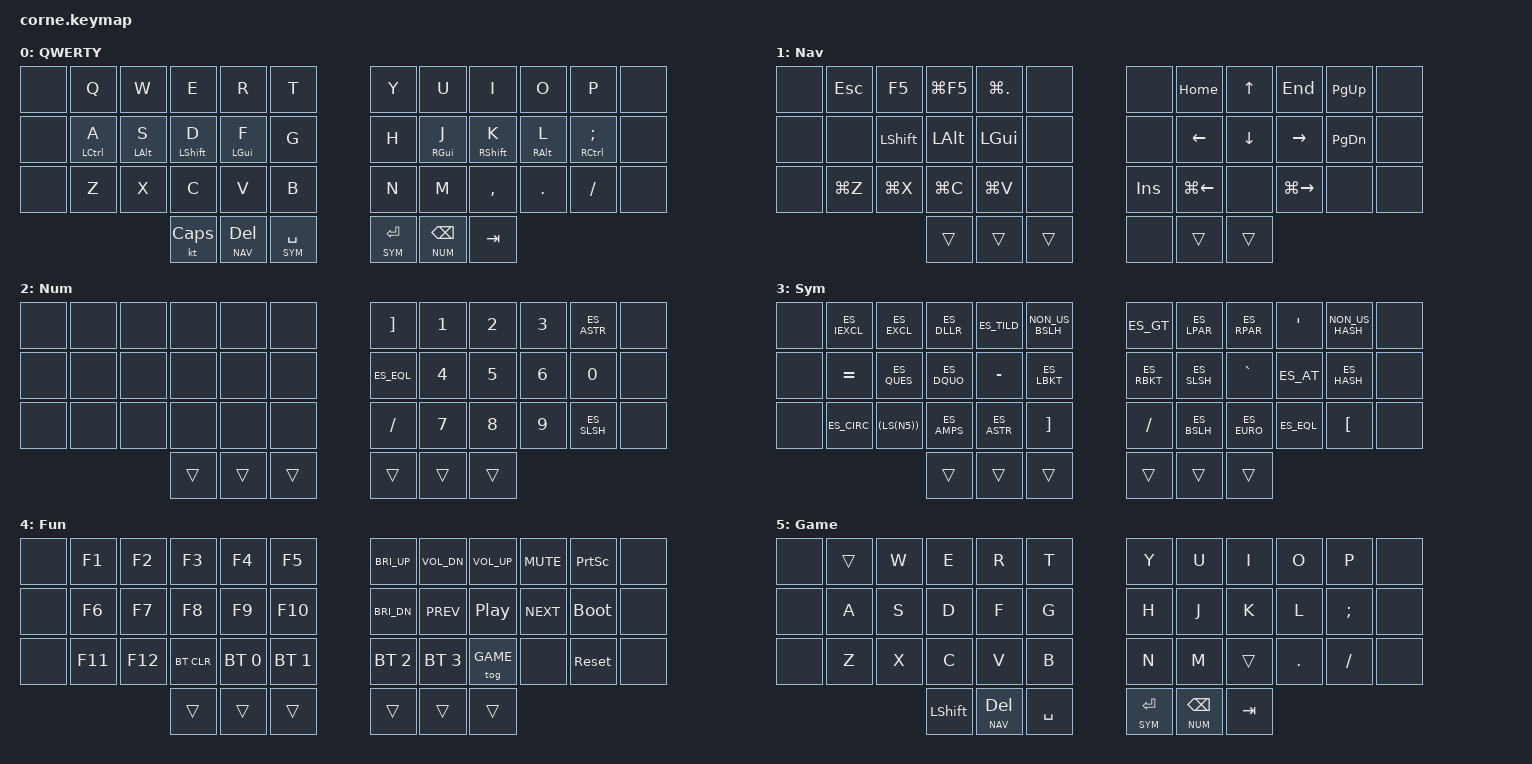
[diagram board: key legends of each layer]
/*
 * Copyright (c) 2020 The ZMK Contributors
 * SPDX-License-Identifier: MIT
 */

#include <behaviors.dtsi>
#include <dt-bindings/zmk/keys.h>
#include <dt-bindings/zmk/bt.h>
#include <dt-bindings/zmk/reset.h>

// --- MAC-SPECIFIC LATIN AMERICAN SPANISH MAPPINGS (FULL NAMES) ---
#define ES_NTIL SEMI         // ñ
#define ES_QUES (LS(MINUS))  // ? (Shift + ')
#define ES_IQUE EQUAL        // ¿ (key right of ')
#define ES_EXCL (LS(N1))     // !
#define ES_IEXCL (LS(EQUAL)) // ¡
#define ES_LPAR (LS(N8))     // (
#define ES_RPAR (LS(N9))     // )
#define ES_LBKT (LA(N8))     // [ (Option + 8)
#define ES_RBKT (LA(N9))     // ] (Option + 9)
#define ES_LBRC (LA(LS(N8))) // { (Option + Shift + 8)
#define ES_RBRC (LA(LS(N9))) // } (Option + Shift + 9)
#define ES_LT   NON_US_BSLH  // < (Key usually left of Z or 1 on ISO/LatAm)
#define ES_GT   (LS(NON_US_BSLH)) // >
#define ES_AT   (LA(N2))     // @ (Option + 2)
#define ES_HASH (LA(N3))     // # (Option + 3)
#define ES_PIPE (LA(N1))     // | (Option + 1)
#define ES_BSLH (LA(LS(N7))) // \ (Option + Shift + 7)
#define ES_DQUO (LS(N2))     // "
#define ES_SQUO MINUS        // '
#define ES_AMPS (LS(N6))     // &
#define ES_SLSH (LS(N7))     // /
#define ES_ASTR (LS(RBKT))   // *
#define ES_PLUS RBKT         // +
#define ES_EQL  (LS(N0))     // =
#define ES_MINS SLASH        // -
#define ES_UNDR (LS(SLASH))  // _
#define ES_CIRC (LS(LBRKT))  // ^ (In Mac LatAm: Shift + key right of P)
#define ES_TILD (LA(N))      // ~ (Option + n)
#define ES_EURO (LA(LS(N2))) // € (Option + Shift + 2 on Mac LatAm)
#define ES_DLLR (LS(N4))     // $
#define ES_GRV  (LS(RBRKT))  // ` (In Mac LatAm: Shift + key right of ^)

// Fixes for Mac LatAm compatibility via physical keys
#define ES_CIRC (LS(LBKT))       // ^ is Shift + ´ (the key next to P)
#define ES_LBRC APOS             // { (key next to Ñ)
#define ES_RBRC NON_US_HASH      // } (key next to the { key)
#define ES_LBKT (LS(APOS))       // [ is Shift + {
#define ES_RBKT (LS(NON_US_HASH))// ] is Shift + }
#define ES_PIPE GRAVE            // |
#define ES_AT   (LA(Q))          // @ (Option + Q)
#define ES_HASH (LS(N3))         // # (Shift + 3)
#define ES_BSLH (LA(MINUS))      // \ (Option + '?')
#define ES_EURO (LA(E))          // € (Option + e)
#define ES_ACUT LBKT             // ´ (Acute accent / tilde for áéíóú)

// Layer definitions
#define DEFAULT 0
#define NAV     1
#define NUM     2
#define SYM     3
#define FUN     4
#define GAME    5

&mt {
    tapping-term-ms = <200>;
    quick-tap-ms = <150>;
    flavor = "tap-preferred";
};

&lt {
    tapping-term-ms = <200>;
    quick-tap-ms = <150>;
};

/ {
    behaviors {
        // Behaviors block is kept for potential future additions
    };

    combos {
        compatible = "zmk,combos";
        combo_btclr_left {
            timeout-ms = <5000>;
            key-positions = <36 37 38>;
            bindings = <&bt BT_CLR>;
            layers = <DEFAULT NAV NUM SYM FUN>;
        };
        combo_btclr_right {
            timeout-ms = <5000>;
            key-positions = <39 40 41>;
            bindings = <&bt BT_CLR>;
            layers = <DEFAULT NAV NUM SYM FUN>;
        };
    };

    conditional_layers {
        compatible = "zmk,conditional-layers";
        tri_layer {
            if-layers = <NAV NUM>;
            then-layer = <FUN>;
        };
    };

    keymap {
        compatible = "zmk,keymap";

        default_layer {
            display-name = "QWERTY";
            bindings = <
   &none  &kp Q        &kp W        &kp E        &kp R        &kp T          &kp Y        &kp U        &kp I        &kp O        &kp P         &none
   &none  &mt LCTRL A  &mt LALT S   &mt LSHFT D  &mt LGUI F   &kp G          &kp H        &mt RGUI J   &mt RSHFT K  &mt RALT L   &mt RCTRL ES_NTIL &none
   &none  &kp Z        &kp X        &kp C        &kp V        &kp B          &kp N        &kp M        &kp COMMA    &kp DOT      &kp ES_MINS   &none
                                    &kt CAPS     &lt NAV DEL  &lt SYM SPACE  &lt SYM RET  &lt NUM BSPC &kp TAB
            >;
        };

        nav_layer {
            display-name = "Nav";
            bindings = <
   &none  &kp ESC      &kp F5       &kp LG(F5)   &kp LG(DOT)  &none          &none        &kp HOME     &kp UP       &kp END      &kp PG_UP    &none
   &none  &none        &kp LSHFT    &kp LALT     &kp LGUI     &none          &none        &kp LEFT     &kp DOWN     &kp RIGHT    &kp PG_DN    &none
   &none  &kp LG(Z)    &kp LG(X)    &kp LG(C)    &kp LG(V)    &none          &kp INS      &kp LG(LEFT) &none        &kp LG(RIGHT) &none       &none
                                    &trans       &trans       &trans         &none        &trans       &trans
            >;
        };

        num_layer {
            display-name = "Num";
            bindings = <
   &none  &none        &none        &none        &none        &none          &kp ES_PLUS  &kp N1       &kp N2       &kp N3       &kp ES_ASTR  &none
   &none  &none        &none        &none        &none        &none          &kp ES_EQL   &kp N4       &kp N5       &kp N6       &kp N0       &none
   &none  &none        &none        &none        &none        &none          &kp ES_MINS  &kp N7       &kp N8       &kp N9       &kp ES_SLSH  &none
                                    &trans       &trans       &trans         &trans       &trans       &trans
            >;
        };

        sym_layer {
            display-name = "Sym";
            bindings = <
   &none  &kp ES_IEXCL &kp ES_EXCL  &kp ES_DLLR  &kp ES_TILD  &kp ES_LT      &kp ES_GT    &kp ES_LPAR  &kp ES_RPAR  &kp ES_LBRC  &kp ES_RBRC  &none
   &none  &kp ES_IQUE  &kp ES_QUES  &kp ES_DQUO  &kp ES_SQUO  &kp ES_LBKT    &kp ES_RBKT  &kp ES_SLSH  &kp ES_PIPE  &kp ES_AT    &kp ES_HASH  &none
   &none  &kp ES_CIRC  &kp (LS(N5)) &kp ES_AMPS  &kp ES_ASTR  &kp ES_PLUS    &kp ES_MINS  &kp ES_BSLH  &kp ES_EURO  &kp ES_EQL   &kp ES_ACUT  &none
                                    &trans       &trans       &trans         &trans       &trans       &trans
            >;
        };

        fun_layer {
            display-name = "Fun";
            bindings = <
   &none  &kp F1       &kp F2       &kp F3       &kp F4       &kp F5         &kp C_BRI_UP &kp C_VOL_DN &kp C_VOL_UP &kp C_MUTE   &kp PSCRN    &none
   &none  &kp F6       &kp F7       &kp F8       &kp F9       &kp F10        &kp C_BRI_DN &kp C_PREV   &kp C_PP     &kp C_NEXT   &bootloader  &none
   &none  &kp F11      &kp F12      &bt BT_CLR   &bt BT_SEL 0 &bt BT_SEL 1   &bt BT_SEL 2 &bt BT_SEL 3 &tog GAME    &none        &sys_reset   &none
                                    &trans       &trans       &trans         &trans       &trans       &trans
            >;
        };

        game_layer {
            display-name = "Game";
            bindings = <
   &none  &trans       &kp W        &kp E        &kp R        &kp T          &kp Y        &kp U        &kp I        &kp O        &kp P         &none
   &none  &kp A        &kp S        &kp D        &kp F        &kp G          &kp H        &kp J        &kp K        &kp L        &kp ES_NTIL   &none
   &none  &kp Z        &kp X        &kp C        &kp V        &kp B          &kp N        &kp M        &trans       &kp DOT      &kp ES_MINS   &none
                                    &kp LSHFT    &lt NAV DEL  &kp SPACE      &lt SYM RET  &lt NUM BSPC &kp TAB
            >;
        };
    };
};

// -----------------------------------------------------------------------------------------
// VISUAL REFERENCE FOR LEARNING
// -----------------------------------------------------------------------------------------

// QWERTY - MacOS Optimized
// | NONE |  Q  |  W  |  E  |  R  |  T  |   |  Y  |  U  |  I  |  O  |  P  | NONE |
// | NONE | CTRL| ALT | SHFT| CMD |  G  |   |  H  | CMD | SHFT| ALT | CTRL| NONE |
// | NONE |  Z  |  X  |  C  |  V  |  B  |   |  N  |  M  |  ,  |  .  |  -  | NONE |
//                    | CAPS| NAV | SYM |   | SYM | NUM | TAB | 

// NAV - MacOS (Command Key)
// | NONE | ESC | F5  |CMD-F5|CMD-.|     |   |     | HOME|  UP | END | PGUP| NONE |
// | NONE |     | SHFT| ALT  | CMD |     |   |     | LFT | DWN | RGT | PGDN| NONE |
// | NONE |CMD-Z|CMD-X|CMD-C |CMD-V|     |   | INS |C-LFT|     |C-RGT|     | NONE |

// NUM - Latin Spanish Layout
// | NONE |     |     |     |     |     |   |  +  |  1  |  2  |  3  |  *  | NONE |
// | NONE |     |     |     |     |     |   |  =  |  4  |  5  |  6  |  0  | NONE |
// | NONE |     |     |     |     |     |   |  -  |  7  |  8  |  9  |  /  | NONE |

// SYM - Logic & Pairs
// | NONE |  ¡  |  !  |  $  |  ~  |  <  |   |  >  |  (  |  )  |  {  |  }  | NONE |
// | NONE |  ¿  |  ?  |  "  |  '  |  [  |   |  ]  |  /  |  |  |  @  |  #  | NONE |
// | NONE |  ^  |  %  |  &  |  *  |  +  |   |  -  |  \  |  €  |  =  |  ´  | NONE |

// FUN - Function & Media
// | NONE |  F1 |  F2 |  F3 |  F4 |  F5 |   |BRUP |VOLDN|VOLUP|MUTE |PSCRN| NONE |
// | NONE |  F6 |  F7 |  F8 |  F9 | F10 |   |BRDN |PREV |PLAY |NEXT |BOOT | NONE |
// | NONE | F11 | F12 |BTCLR| BT1 | BT2 |   | BT3 | BT4 | TOG |RESET| NONE |

// GAME - Plain keys for gaming (toggle via FUN layer)
// | NONE |  Q  |  W  |  E  |  R  |  T  |   |  Y  |  U  |  I  |  O  |  P  | NONE |
// | NONE |  A  |  S  |  D  |  F  |  G  |   |  H  |  J  |  K  |  L  |  Ñ  | NONE |
// | NONE |  Z  |  X  |  C  |  V  |  B  |   |  N  |  M  |  ,  |  .  |  -  | NONE |
//                    | SHFT| NAV |SPACE|   | RET | NUM | TAB |
// ESC = hold NAV + tap Q. Toggle = hold NAV+NUM (FUN) + tap TOG.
